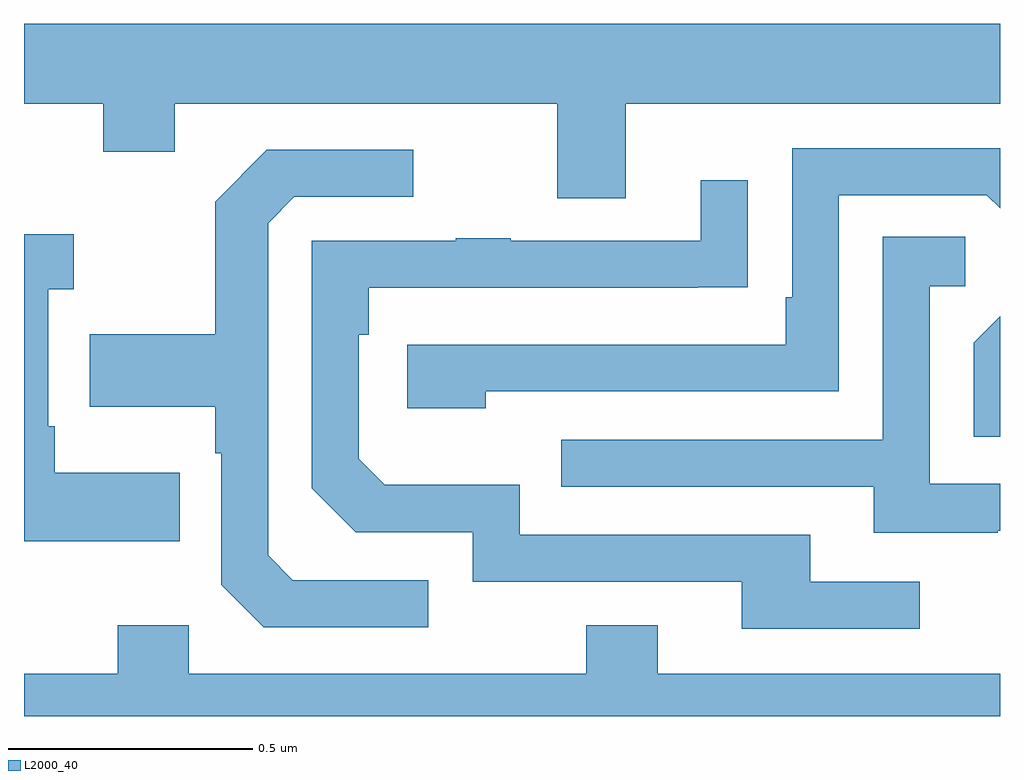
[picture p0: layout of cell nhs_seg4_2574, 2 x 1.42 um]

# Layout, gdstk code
import gdstk
lib = gdstk.Library(unit=1e-6, precision=1e-09)
def P(c, l, *ps):  # polygons
    for p in ps: c.add(gdstk.Polygon(p, *l))
L2000_40 = (2000, 40)

nhs_seg4_2574 = lib.new_cell('nhs_seg4_2574')
P(nhs_seg4_2574, L2000_40, [(142,794.156),(142.162,794.156),(142.162,794.057),(142.309,794.057),(142.309,794.156),(143.093,794.156),(143.093,793.962),(143.233,793.962),(143.233,794.156),(144,794.156),(144,794.32),(142,794.32)],
  [(142.946,793.566),(143.67,793.566),(143.67,793.968),(143.973,793.968),(144,793.941),(144,794.064),(143.574,794.064),(143.574,793.759),(143.561,793.759),(143.561,793.662),(142.785,793.662),(142.785,793.532),(142.946,793.532)],
  [(142.828,793.179),(142.551,793.179),(142.5,793.23),(142.5,793.911),(142.554,793.965),(142.798,793.965),(142.798,794.061),(142.497,794.061),(142.392,793.955),(142.392,793.683),(142.135,793.683),(142.135,793.535),(142.392,793.535),(142.392,793.439),(142.404,793.439),(142.404,793.17),(142.491,793.083),(142.828,793.083)],
  [(143.836,793.176),(143.611,793.176),(143.611,793.272),(143.016,793.272),(143.016,793.375),(142.739,793.375),(142.686,793.428),(142.686,793.682),(142.706,793.682),(142.706,793.779),(143.381,793.779),(143.381,793.78),(143.483,793.78),(143.483,793.999),(143.387,793.999),(143.387,793.875),(142.997,793.875),(142.997,793.88),(142.885,793.88),(142.885,793.875),(142.59,793.875),(142.59,793.368),(142.68,793.278),(142.92,793.278),(142.92,793.176),(143.471,793.176),(143.471,793.08),(143.836,793.08)],
  [(142.319,793.399),(142.063,793.399),(142.063,793.495),(142.05,793.495),(142.05,793.775),(142.102,793.775),(142.102,793.888),(142,793.888),(142,793.259),(142.319,793.259)],
  [(143.995,793.281),(144,793.281),(144,793.377),(143.856,793.377),(143.856,793.782),(143.929,793.782),(143.929,793.883),(143.76,793.883),(143.76,793.467),(143.101,793.467),(143.101,793.371),(143.741,793.371),(143.741,793.277),(143.995,793.277)],
  [(144,793.72),(143.946,793.666),(143.946,793.473),(144,793.473)],
  [(144,792.988),(143.299,792.988),(143.299,793.087),(143.152,793.087),(143.152,792.988),(142.338,792.988),(142.338,793.087),(142.192,793.087),(142.192,792.988),(142,792.988),(142,792.9),(144,792.9)])

lib.write_gds('nhs_seg4_2574.gds')
